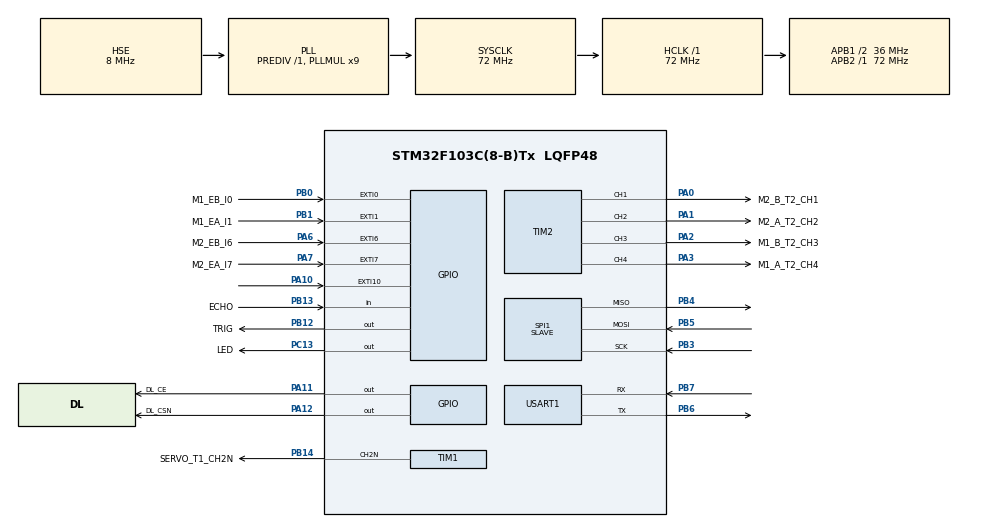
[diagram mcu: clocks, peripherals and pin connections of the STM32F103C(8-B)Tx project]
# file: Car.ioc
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IWDG.Prescaler=IWDG_PRESCALER_64
IWDG.Reload=625
Mcu.Family=STM32F1
Mcu.Name=STM32F103C(8-B)Tx
Mcu.Package=LQFP48
NVIC.EXTI0_IRQn=true\:0\:0\:false\:false\:true\:true\:true\:true
NVIC.EXTI1_IRQn=true\:0\:0\:false\:false\:true\:true\:true\:true
NVIC.EXTI9_5_IRQn=true\:0\:0\:false\:false\:true\:true\:true\:true
NVIC.PriorityGroup=NVIC_PRIORITYGROUP_4
NVIC.SPI1_IRQn=true\:0\:0\:false\:false\:true\:true\:true\:true
NVIC.TIM3_IRQn=true\:0\:0\:false\:false\:true\:true\:true\:true
NVIC.USART1_IRQn=true\:0\:0\:false\:false\:true\:true\:true\:true
PA0-WKUP.GPIO_Label=M2_B_T2_CH1
PA0-WKUP.Signal=S_TIM2_CH1_ETR
PA1.GPIO_Label=M2_A_T2_CH2
PA1.Signal=S_TIM2_CH2
PA10.Signal=GPXTI10
PA11.GPIO_Label=DL_CE
PA11.GPIO_PuPd=GPIO_NOPULL
PA11.PinState=GPIO_PIN_SET
PA11.Signal=GPIO_Output
PA12.GPIO_Label=DL_CSN
PA12.GPIO_ModeDefaultOutputPP=GPIO_MODE_OUTPUT_PP
PA12.GPIO_PuPd=GPIO_NOPULL
PA12.Signal=GPIO_Output
PA13.Mode=Serial_Wire
PA13.Signal=SYS_JTMS-SWDIO
PA14.Mode=Serial_Wire
PA14.Signal=SYS_JTCK-SWCLK
PA2.GPIO_Label=M1_B_T2_CH3
PA2.Signal=S_TIM2_CH3
PA3.GPIO_Label=M1_A_T2_CH4
PA3.Signal=S_TIM2_CH4
PA6.GPIO_Label=M2_EB_I6
PA6.GPIO_PuPd=GPIO_PULLDOWN
PA6.Signal=GPXTI6
PA7.GPIO_Label=M2_EA_I7
PA7.GPIO_PuPd=GPIO_PULLDOWN
PA7.Signal=GPXTI7
PB0.GPIO_Label=M1_EB_I0
PB0.GPIO_PuPd=GPIO_PULLDOWN
PB0.Signal=GPXTI0
PB1.GPIO_Label=M1_EA_I1
PB1.GPIO_PuPd=GPIO_PULLDOWN
PB1.Signal=GPXTI1
PB12.GPIO_Label=TRIG
PB12.Signal=GPIO_Output
PB13.GPIO_Label=ECHO
PB13.GPIO_PuPd=GPIO_PULLDOWN
PB13.Signal=GPIO_Input
PB14.GPIO_Label=SERVO_T1_CH2N
PB14.Mode=PWM Generation2 CH2N
PB14.Signal=TIM1_CH2N
PB3.Mode=Full_Duplex_Slave
PB3.Signal=SPI1_SCK
PB4.Mode=Full_Duplex_Slave
PB4.Signal=SPI1_MISO
PB5.Mode=Full_Duplex_Slave
PB5.Signal=SPI1_MOSI
PB6.Mode=Asynchronous
PB6.Signal=USART1_TX
PB7.Mode=Asynchronous
PB7.Signal=USART1_RX
PC13-TAMPER-RTC.GPIO_Label=LED
PC13-TAMPER-RTC.PinState=GPIO_PIN_SET
PC13-TAMPER-RTC.Signal=GPIO_Output
PD0-OSC_IN.Mode=HSE-External-Oscillator
PD0-OSC_IN.Signal=RCC_OSC_IN
PD1-OSC_OUT.Mode=HSE-External-Oscillator
PD1-OSC_OUT.Signal=RCC_OSC_OUT
ProjectManager.HeapSize=0x200
ProjectManager.StackSize=0x400
ProjectManager.TargetToolchain=Makefile
RCC.AHBFreq_Value=72000000
RCC.APB1CLKDivider=RCC_HCLK_DIV2
RCC.APB1Freq_Value=36000000
RCC.APB1TimFreq_Value=72000000
RCC.APB2Freq_Value=72000000
RCC.APB2TimFreq_Value=72000000
RCC.HCLKFreq_Value=72000000
RCC.PLLMUL=RCC_PLL_MUL9
RCC.PLLSourceVirtual=RCC_PLLSOURCE_HSE
RCC.SYSCLKFreq_VALUE=72000000
RCC.SYSCLKSource=RCC_SYSCLKSOURCE_PLLCLK
RCC.USBFreq_Value=72000000
SH.S_TIM2_CH1_ETR.0=TIM2_CH1,PWM Generation1 CH1
SH.S_TIM2_CH2.0=TIM2_CH2,PWM Generation2 CH2
SH.S_TIM2_CH3.0=TIM2_CH3,PWM Generation3 CH3
SH.S_TIM2_CH4.0=TIM2_CH4,PWM Generation4 CH4
SPI1.Direction=SPI_DIRECTION_2LINES
SPI1.Mode=SPI_MODE_SLAVE
SPI1.VirtualType=VM_SLAVE
TIM1.Channel-PWM\ Generation2\ CH2N=TIM_CHANNEL_2
TIM1.Period=999
TIM1.Prescaler=1439
TIM2.Channel-PWM\ Generation1\ CH1=TIM_CHANNEL_1
TIM2.Channel-PWM\ Generation2\ CH2=TIM_CHANNEL_2
TIM2.Channel-PWM\ Generation3\ CH3=TIM_CHANNEL_3
TIM2.Channel-PWM\ Generation4\ CH4=TIM_CHANNEL_4
TIM3.Period=99
TIM3.Prescaler=71
USART1.VirtualMode=VM_ASYNC
VP_IWDG_VS_IWDG.Mode=IWDG_Activate
VP_TIM3_VS_ClockSourceINT.Mode=Internal
board=custom

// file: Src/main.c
/* USER CODE BEGIN Header */
/**
  ******************************************************************************
  * @file           : main.c
  * @brief          : Main program body
  ******************************************************************************
  * @attention
  *
  * Copyright (c) 2022 STMicroelectronics.
  * All rights reserved.
  *
  * This software is licensed under terms that can be found in the LICENSE file
  * in the root directory of this software component.
  * If no LICENSE file comes with this software, it is provided AS-IS.
  *
  ******************************************************************************
  */
/* USER CODE END Header */
#include "main.h"
#include "iwdg.h"
#include "spi.h"
#include "tim.h"
#include "usart.h"
#include "gpio.h"

/* USER CODE BEGIN Includes */

#include "driver.h"

/* USER CODE END Includes */

/* USER CODE BEGIN PV */

DRIVER *driver;

/* USER CODE END PV */

void SystemClock_Config(void);
/* USER CODE BEGIN PFP */

void HAL_TIM_PeriodElapsedCallback(TIM_HandleTypeDef *htim)
{
  if (htim == &htim3)
  {
    timer_running();
    run_inner_timer_node();
  }
}

void HAL_GPIO_EXTI_Callback(uint16_t GPIO_Pin)
{
  switch (GPIO_Pin)
  {
  case M1_EA_I1_Pin:
    /* code */
    break;
  case M1_EB_I0_Pin:
    /* code */
    break;
  case M2_EA_I7_Pin:
    /* code */
    break;
  case M2_EB_I6_Pin:
    /* code */
    break;
  default:
    break;
  }
}

#define TEST_SERVO 1
#define TEST 1

/* USER CODE END PFP */

int main(void)
{

  /* MCU Configuration--------------------------------------------------------*/

  /* Reset of all peripherals, Initializes the Flash interface and the Systick. */
  HAL_Init();

  /* Configure the system clock */
  SystemClock_Config();

  /* Initialize all configured peripherals */
  MX_GPIO_Init();
  #ifndef TEST
  MX_IWDG_Init();
  #endif
  MX_SPI1_Init();
  MX_TIM1_Init();
  MX_TIM2_Init();
  MX_TIM3_Init();
  MX_USART1_UART_Init();
  /* USER CODE BEGIN 2 */

  DRIVER_Init();
  PROC_Init();

  /* USER CODE END 2 */

  /* Infinite loop */
  /* USER CODE BEGIN WHILE */
  while (1)
  {
    #ifndef TEST
    HAL_IWDG_Refresh(&hiwdg);
    #endif

    if (htim3.State == HAL_TIM_STATE_BUSY)
    {
      run_timer_node();
    }

    #ifdef TEST_MOTOR
    for (size_t i = 0; i < 100; i++)
    {
      DriverPower(driver, 0, i * 0.01, i * 0.01);
      HAL_Delay(50);
    }
    HAL_Delay(300);
    for (size_t i = 0; i < 100; i++)
    {
      DriverPower(driver, 0, -i * 0.01, -i * 0.01);
      HAL_Delay(50);
    }
    HAL_Delay(300);
    for (size_t i = 100; i > 1; i--)
    {
      DriverPower(driver, 0, i * 0.01, i * 0.01);
      HAL_Delay(50);
    }
    HAL_Delay(300);
    for (size_t i = 100; i > 1; i--)
    {
      DriverPower(driver, 0, -i * 0.01, -i * 0.01);
      HAL_Delay(50);
    }
    HAL_Delay(300);
    #endif

    #ifdef TEST_SERVO
    for (size_t i = 0; i < 100; i++)
    {
      DriverPower(driver, i / 100, 0, 0);
      HAL_Delay(300);
    }
    HAL_Delay(1000);
    for (size_t i = 100; i > 0; i--)
    {
      DriverPower(driver, i / 100, 0, 0);
      HAL_Delay(300);
    }
    #endif

    /* USER CODE END WHILE */

  }
}

void SystemClock_Config(void)
{
  RCC_OscInitTypeDef RCC_OscInitStruct = {0};
  RCC_ClkInitTypeDef RCC_ClkInitStruct = {0};

  /** Initializes the RCC Oscillators according to the specified parameters
  * in the RCC_OscInitTypeDef structure.
  */
  RCC_OscInitStruct.OscillatorType = RCC_OSCILLATORTYPE_LSI|RCC_OSCILLATORTYPE_HSE;
  RCC_OscInitStruct.HSEState = RCC_HSE_ON;
  RCC_OscInitStruct.HSEPredivValue = RCC_HSE_PREDIV_DIV1;
  RCC_OscInitStruct.HSIState = RCC_HSI_ON;
  RCC_OscInitStruct.LSIState = RCC_LSI_ON;
  RCC_OscInitStruct.PLL.PLLState = RCC_PLL_ON;
  RCC_OscInitStruct.PLL.PLLSource = RCC_PLLSOURCE_HSE;
  RCC_OscInitStruct.PLL.PLLMUL = RCC_PLL_MUL9;
  if (HAL_RCC_OscConfig(&RCC_OscInitStruct) != HAL_OK)
  {
    Error_Handler();
  }

  /** Initializes the CPU, AHB and APB buses clocks
  */
  RCC_ClkInitStruct.ClockType = RCC_CLOCKTYPE_HCLK|RCC_CLOCKTYPE_SYSCLK
                              |RCC_CLOCKTYPE_PCLK1|RCC_CLOCKTYPE_PCLK2;
  RCC_ClkInitStruct.SYSCLKSource = RCC_SYSCLKSOURCE_PLLCLK;
  RCC_ClkInitStruct.AHBCLKDivider = RCC_SYSCLK_DIV1;
  RCC_ClkInitStruct.APB1CLKDivider = RCC_HCLK_DIV2;
  RCC_ClkInitStruct.APB2CLKDivider = RCC_HCLK_DIV1;

  if (HAL_RCC_ClockConfig(&RCC_ClkInitStruct, FLASH_LATENCY_2) != HAL_OK)
  {
    Error_Handler();
  }
}

void Error_Handler(void)
{
  /* USER CODE BEGIN Error_Handler_Debug */
  /* User can add his own implementation to report the HAL error return state */
  __disable_irq();
  while (1)
  {
    HAL_Delay(500);
    HAL_GPIO_TogglePin(LED_GPIO_Port, LED_Pin);
  }
  /* USER CODE END Error_Handler_Debug */
}
